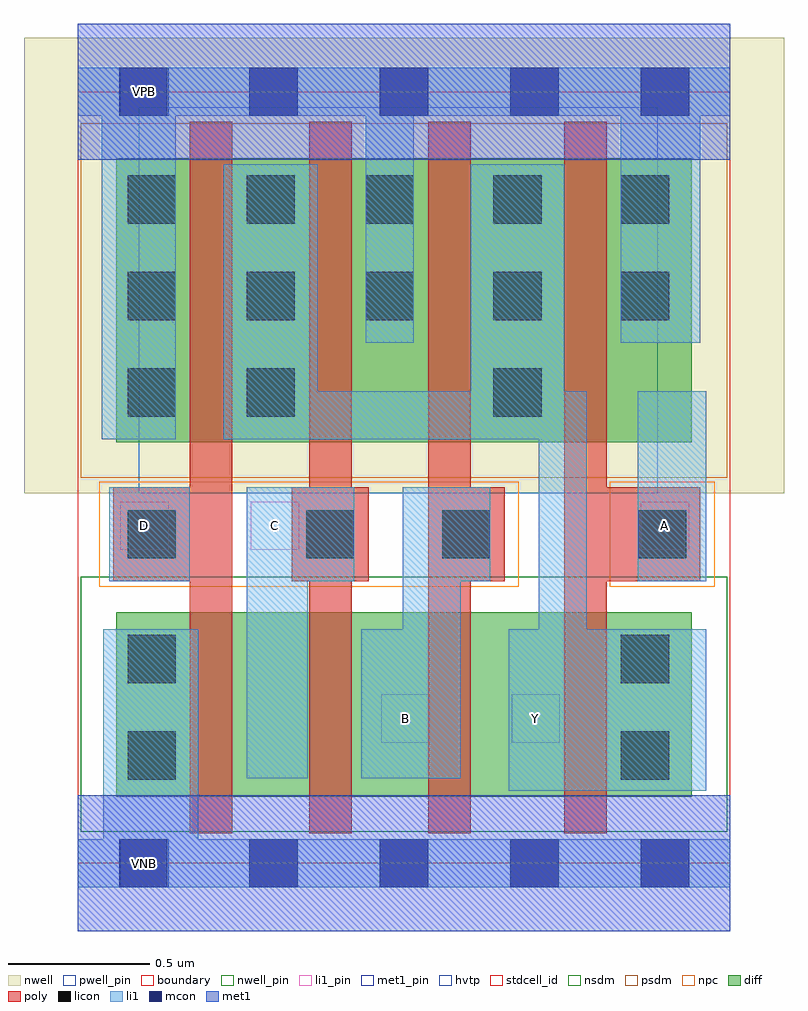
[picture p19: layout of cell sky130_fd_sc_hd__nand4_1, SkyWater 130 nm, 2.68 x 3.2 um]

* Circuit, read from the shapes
.subckt sky130_fd_sc_hd__nand4_1 A B C D VGND VNB VPB VPWR Y
XM1 n1 D VGND VNB sky130_fd_pr__nfet_01v8 w=0.65 l=0.15
XM2 n2 C n1 VNB sky130_fd_pr__nfet_01v8 w=0.65 l=0.15
XM3 n3 B n2 VNB sky130_fd_pr__nfet_01v8 w=0.65 l=0.15
XM4 Y A n3 VNB sky130_fd_pr__nfet_01v8 w=0.65 l=0.15
XM5 Y D VPWR VPB sky130_fd_pr__pfet_01v8_hvt w=1 l=0.15
XM6 VPWR C Y VPB sky130_fd_pr__pfet_01v8_hvt w=1 l=0.15
XM7 Y B VPWR VPB sky130_fd_pr__pfet_01v8_hvt w=1 l=0.15
XM8 VPWR A Y VPB sky130_fd_pr__pfet_01v8_hvt w=1 l=0.15
.ends

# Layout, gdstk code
import gdstk
lib = gdstk.Library(unit=1e-6, precision=1e-09)
def R(c, l, rs):  # rectangles x0, y0, x1, y1
    for r in rs: c.add(gdstk.rectangle(r[:2], r[2:], *l))
def A(c, l, x, y, w, h, nx, ny, dx, dy):  # array of equal rectangles
    R(c, l, [(x+i*dx, y+j*dy, x+i*dx+w, y+j*dy+h) for i in range(nx) for j in range(ny)])
nwell_pin = (64, 16)
nwell = (64, 20)
diff = (65, 20)
poly = (66, 20)
licon = (66, 44)
li1_pin = (67, 16)
li1 = (67, 20)
mcon = (67, 44)
met1_pin = (68, 16)
met1 = (68, 20)
hvtp = (78, 44)
stdcell_id = (81, 4)
nsdm = (93, 44)
psdm = (94, 20)
npc = (95, 20)
pwell_pin = (122, 16)
boundary = (235, 4)

sky130_fd_sc_hd__nand4_1 = lib.new_cell('sky130_fd_sc_hd__nand4_1')
R(sky130_fd_sc_hd__nand4_1, nwell_pin, [(0.15,2.635,0.32,2.805)])
R(sky130_fd_sc_hd__nand4_1, nwell, [(-0.19,1.305,2.49,2.91)])
R(sky130_fd_sc_hd__nand4_1, diff, [(0.135,0.235,2.165,0.885), (0.135,1.485,2.165,2.485)])
A(sky130_fd_sc_hd__nand4_1, poly, 0.395, 0.105, 0.15, 0.89, 3, 1, 0.42, 0)
A(sky130_fd_sc_hd__nand4_1, poly, 0.395, 1.325, 0.15, 1.29, 3, 1, 0.42, 0)
R(sky130_fd_sc_hd__nand4_1, poly, [(1.715,0.105,1.865,0.995), (0.125,0.995,0.545,1.325), (0.755,0.995,1.025,1.325), (1.235,0.995,1.505,1.325), (1.715,0.995,2.195,1.325), (1.715,1.325,1.865,2.615)])
A(sky130_fd_sc_hd__nand4_1, licon, 1.465, 1.575, 0.17, 0.17, 1, 3, 0, 0.34)
A(sky130_fd_sc_hd__nand4_1, licon, 0.175, 1.915, 0.17, 0.17, 3, 2, 0.42, 0.34)
R(sky130_fd_sc_hd__nand4_1, licon, [(0.175,0.295,0.345,0.465), (1.915,0.295,2.085,0.465), (0.175,0.635,0.345,0.805), (1.915,0.635,2.085,0.805), (0.175,1.075,0.345,1.245), (0.805,1.075,0.975,1.245), (1.285,1.075,1.455,1.245), (1.975,1.075,2.145,1.245), (0.175,1.575,0.345,1.745), (0.595,1.575,0.765,1.745), (1.915,1.915,2.085,2.085), (1.915,2.255,2.085,2.425)])
R(sky130_fd_sc_hd__nand4_1, li1_pin, [(1.07,0.425,1.24,0.595), (1.53,0.425,1.7,0.595), (0.15,1.105,0.32,1.275), (0.61,1.105,0.78,1.275), (1.985,1.105,2.155,1.275)])
R(sky130_fd_sc_hd__nand4_1, li1, [(0,-0.085,2.3,0.085), (0.09,0.085,0.425,0.825), (1.52,0.255,2.215,0.825), (0.595,0.3,0.81,0.995), (1,0.3,1.35,0.825), (1.145,0.825,1.35,0.995), (1.625,0.825,1.795,1.495), (0.11,0.995,0.395,1.325), (0.595,0.995,0.975,1.325), (1.145,0.995,1.455,1.325), (1.975,0.995,2.215,1.665), (0.085,1.495,0.345,2.635), (0.515,1.495,1.795,1.665), (0.515,1.665,0.845,2.465), (1.385,1.665,1.715,2.465), (1.015,1.835,1.185,2.635), (1.915,1.835,2.195,2.635), (0,2.635,2.3,2.805)])
A(sky130_fd_sc_hd__nand4_1, mcon, 0.145, -0.085, 0.17, 0.17, 5, 2, 0.46, 2.72)
R(sky130_fd_sc_hd__nand4_1, met1_pin, [(0.15,-0.085,0.32,0.085), (0.15,2.635,0.32,2.805)])
R(sky130_fd_sc_hd__nand4_1, met1, [(0,-0.24,2.3,0.24), (0,2.48,2.3,2.96)])
R(sky130_fd_sc_hd__nand4_1, hvtp, [(0.215,1.305,2.045,2.665)])
R(sky130_fd_sc_hd__nand4_1, stdcell_id, [(0,0,2.3,2.72)])
R(sky130_fd_sc_hd__nand4_1, nsdm, [(0.01,0.11,2.29,1.01)])
R(sky130_fd_sc_hd__nand4_1, psdm, [(0.01,1.36,2.29,2.61)])
R(sky130_fd_sc_hd__nand4_1, npc, [(0.075,0.975,1.555,1.345), (1.875,0.975,2.245,1.345)])
R(sky130_fd_sc_hd__nand4_1, pwell_pin, [(0.15,-0.085,0.32,0.085)])
R(sky130_fd_sc_hd__nand4_1, boundary, [(0,0,2.3,2.72)])
sky130_fd_sc_hd__nand4_1.add(gdstk.Label('VPB', (0.235,2.72), layer=64, texttype=5))
sky130_fd_sc_hd__nand4_1.add(gdstk.Label('VNB', (0.235,0), layer=64, texttype=59))
sky130_fd_sc_hd__nand4_1.add(gdstk.Label('VPWR', (0.235,2.72), layer=68, texttype=5))
sky130_fd_sc_hd__nand4_1.add(gdstk.Label('VGND', (0.235,0), layer=68, texttype=5))
sky130_fd_sc_hd__nand4_1.add(gdstk.Label('A', (2.07,1.19), layer=67, texttype=5))
sky130_fd_sc_hd__nand4_1.add(gdstk.Label('C', (0.695,1.19), layer=67, texttype=5))
sky130_fd_sc_hd__nand4_1.add(gdstk.Label('D', (0.235,1.19), layer=67, texttype=5))
sky130_fd_sc_hd__nand4_1.add(gdstk.Label('Y', (1.615,0.51), layer=67, texttype=5))
sky130_fd_sc_hd__nand4_1.add(gdstk.Label('B', (1.155,0.51), layer=67, texttype=5))

lib.write_gds('sky130_fd_sc_hd__nand4_1.gds')
